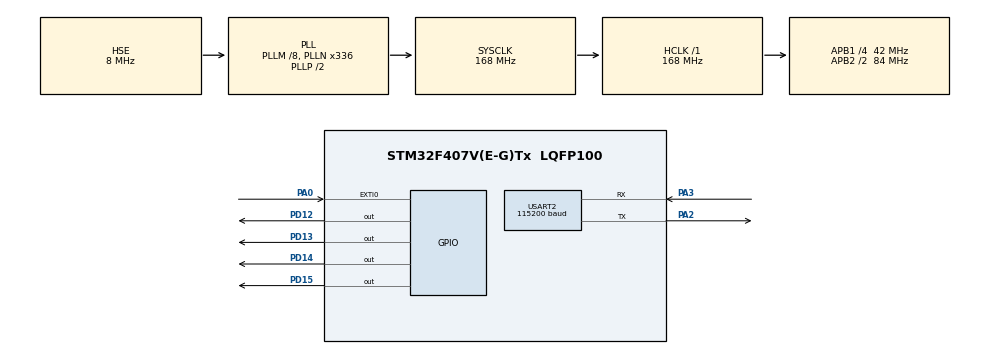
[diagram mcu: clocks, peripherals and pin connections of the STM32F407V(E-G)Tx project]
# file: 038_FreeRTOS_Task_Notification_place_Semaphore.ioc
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FREERTOS.Tasks01=defaultTask,24,128,StartDefaultTask,Default,NULL,Dynamic,NULL,NULL
FREERTOS.configUSE_NEWLIB_REENTRANT=1
Mcu.Family=STM32F4
Mcu.Name=STM32F407V(E-G)Tx
Mcu.Package=LQFP100
NVIC.EXTI0_IRQn=true\:5\:0\:false\:false\:true\:true\:true\:true\:true
NVIC.PriorityGroup=NVIC_PRIORITYGROUP_4
NVIC.TIM8_TRG_COM_TIM14_IRQn=true\:15\:0\:false\:false\:true\:false\:false\:true\:true
NVIC.TimeBase=TIM8_TRG_COM_TIM14_IRQn
NVIC.TimeBaseIP=TIM14
NVIC.USART2_IRQn=true\:5\:0\:false\:false\:true\:true\:true\:true\:true
PA0-WKUP.Signal=GPXTI0
PA2.Mode=Asynchronous
PA2.Signal=USART2_TX
PA3.Mode=Asynchronous
PA3.Signal=USART2_RX
PD12.Signal=GPIO_Output
PD13.Signal=GPIO_Output
PD14.Signal=GPIO_Output
PD15.Signal=GPIO_Output
PH0-OSC_IN.Mode=HSE-External-Oscillator
PH0-OSC_IN.Signal=RCC_OSC_IN
PH1-OSC_OUT.Mode=HSE-External-Oscillator
PH1-OSC_OUT.Signal=RCC_OSC_OUT
ProjectManager.HeapSize=0x200
ProjectManager.StackSize=0x400
ProjectManager.TargetToolchain=STM32CubeIDE
RCC.48MHZClocksFreq_Value=48000000
RCC.AHBFreq_Value=168000000
RCC.APB1CLKDivider=RCC_HCLK_DIV4
RCC.APB1Freq_Value=42000000
RCC.APB1TimFreq_Value=84000000
RCC.APB2CLKDivider=RCC_HCLK_DIV2
RCC.APB2Freq_Value=84000000
RCC.APB2TimFreq_Value=168000000
RCC.CortexFreq_Value=168000000
RCC.HCLKFreq_Value=168000000
RCC.HSE_VALUE=8000000
RCC.HSI_VALUE=16000000
RCC.LSE_VALUE=32768
RCC.PLLM=8
RCC.PLLN=336
RCC.PLLQ=7
RCC.PLLSourceVirtual=RCC_PLLSOURCE_HSE
RCC.SYSCLKFreq_VALUE=168000000
RCC.SYSCLKSource=RCC_SYSCLKSOURCE_PLLCLK
RCC.VCOOutputFreq_Value=336000000
USART2.BaudRate=115200
USART2.VirtualMode=VM_ASYNC
VP_FREERTOS_VS_CMSIS_V2.Mode=CMSIS_V2
VP_SYS_VS_tim14.Mode=TIM14
board=STM32F407G-DISC1

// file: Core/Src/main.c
/* USER CODE BEGIN Header */
/**
  ******************************************************************************
  * @file           : main.c
  * @brief          : Main program body
  ******************************************************************************
  * @attention
  *
  * Copyright (c) 2023 STMicroelectronics.
  * All rights reserved.
  *
  * This software is licensed under terms that can be found in the LICENSE file
  * in the root directory of this software component.
  * If no LICENSE file comes with this software, it is provided AS-IS.
  *
  ******************************************************************************
  */
/* USER CODE END Header */
#include "main.h"
/* USER CODE BEGIN Includes */
#include "FreeRTOS.h"
#include "task.h"
#include <string.h>
/* USER CODE END Includes */

UART_HandleTypeDef huart2;

/* Definitions for defaultTask */
/* USER CODE BEGIN PV */
TaskHandle_t vHandlerTask_Handle = NULL;
/* USER CODE END PV */

void SystemClock_Config(void);
static void MX_GPIO_Init(void);
static void MX_USART2_UART_Init(void);

/* USER CODE BEGIN 0 */
static void vHandlerTask(void *pvParameters)
{
	const TickType_t xMaxExpectedBlockTime = pdMS_TO_TICKS(5000);
	const char *msg = "Handler task - Processing event.\r\n";
	const char *errmsg = "Timeout Reached!\r\n";
	for(;;)
	{
		if(ulTaskNotifyTake(pdFALSE, xMaxExpectedBlockTime) != 0)
		{
			HAL_UART_Transmit(&huart2, (uint8_t *)msg, strlen(msg), HAL_MAX_DELAY);
		}
		else
		{
			HAL_UART_Transmit(&huart2, (uint8_t *)errmsg, strlen(errmsg), HAL_MAX_DELAY);
		}
	}
}
void HAL_GPIO_EXTI_Callback(uint16_t GPIO_Pin)
{
  if(GPIO_Pin == GPIO_PIN_0)
  {
	  BaseType_t xHigherPriorityTaskWoken;
	  xHigherPriorityTaskWoken = pdFALSE;

	  vTaskNotifyGiveFromISR(vHandlerTask_Handle, &xHigherPriorityTaskWoken);
	  vTaskNotifyGiveFromISR(vHandlerTask_Handle, &xHigherPriorityTaskWoken);
	  vTaskNotifyGiveFromISR(vHandlerTask_Handle, &xHigherPriorityTaskWoken);
	  portYIELD_FROM_ISR(xHigherPriorityTaskWoken);
	  HAL_GPIO_TogglePin(GPIOD, GPIO_PIN_14);
  }
}
/* USER CODE END 0 */

int main(void)
{

  /* MCU Configuration--------------------------------------------------------*/

  /* Reset of all peripherals, Initializes the Flash interface and the Systick. */
  HAL_Init();

  /* Configure the system clock */
  SystemClock_Config();

  /* Initialize all configured peripherals */
  MX_GPIO_Init();
  MX_USART2_UART_Init();
  /* USER CODE BEGIN 2 */
  xTaskCreate(vHandlerTask,"Handler Task", 1000, NULL, 1, &vHandlerTask_Handle );
  vTaskStartScheduler();
  /* USER CODE END 2 */

  /* Init scheduler */

  /* Create the thread(s) */
  /* creation of defaultTask */

  /* Start scheduler */
  /* We should never get here as control is now taken by the scheduler */
  /* Infinite loop */
  while (1)
  {

  }
}

void SystemClock_Config(void)
{
  RCC_OscInitTypeDef RCC_OscInitStruct = {0};
  RCC_ClkInitTypeDef RCC_ClkInitStruct = {0};

  /** Configure the main internal regulator output voltage
  */
  __HAL_RCC_PWR_CLK_ENABLE();
  __HAL_PWR_VOLTAGESCALING_CONFIG(PWR_REGULATOR_VOLTAGE_SCALE1);

  /** Initializes the RCC Oscillators according to the specified parameters
  * in the RCC_OscInitTypeDef structure.
  */
  RCC_OscInitStruct.OscillatorType = RCC_OSCILLATORTYPE_HSE;
  RCC_OscInitStruct.HSEState = RCC_HSE_ON;
  RCC_OscInitStruct.PLL.PLLState = RCC_PLL_ON;
  RCC_OscInitStruct.PLL.PLLSource = RCC_PLLSOURCE_HSE;
  RCC_OscInitStruct.PLL.PLLM = 8;
  RCC_OscInitStruct.PLL.PLLN = 336;
  RCC_OscInitStruct.PLL.PLLP = RCC_PLLP_DIV2;
  RCC_OscInitStruct.PLL.PLLQ = 7;
  if (HAL_RCC_OscConfig(&RCC_OscInitStruct) != HAL_OK)
  {
    Error_Handler();
  }

  /** Initializes the CPU, AHB and APB buses clocks
  */
  RCC_ClkInitStruct.ClockType = RCC_CLOCKTYPE_HCLK|RCC_CLOCKTYPE_SYSCLK
                              |RCC_CLOCKTYPE_PCLK1|RCC_CLOCKTYPE_PCLK2;
  RCC_ClkInitStruct.SYSCLKSource = RCC_SYSCLKSOURCE_PLLCLK;
  RCC_ClkInitStruct.AHBCLKDivider = RCC_SYSCLK_DIV1;
  RCC_ClkInitStruct.APB1CLKDivider = RCC_HCLK_DIV4;
  RCC_ClkInitStruct.APB2CLKDivider = RCC_HCLK_DIV2;

  if (HAL_RCC_ClockConfig(&RCC_ClkInitStruct, FLASH_LATENCY_5) != HAL_OK)
  {
    Error_Handler();
  }
}

static void MX_USART2_UART_Init(void)
{

  huart2.Instance = USART2;
  huart2.Init.BaudRate = 115200;
  huart2.Init.WordLength = UART_WORDLENGTH_8B;
  huart2.Init.StopBits = UART_STOPBITS_1;
  huart2.Init.Parity = UART_PARITY_NONE;
  huart2.Init.Mode = UART_MODE_TX_RX;
  huart2.Init.HwFlowCtl = UART_HWCONTROL_NONE;
  huart2.Init.OverSampling = UART_OVERSAMPLING_16;
  if (HAL_UART_Init(&huart2) != HAL_OK)
  {
    Error_Handler();
  }

}

static void MX_GPIO_Init(void)
{
  GPIO_InitTypeDef GPIO_InitStruct = {0};

  /* GPIO Ports Clock Enable */
  __HAL_RCC_GPIOH_CLK_ENABLE();
  __HAL_RCC_GPIOA_CLK_ENABLE();
  __HAL_RCC_GPIOD_CLK_ENABLE();

  /*Configure GPIO pin Output Level */
  HAL_GPIO_WritePin(GPIOD, GPIO_PIN_12|GPIO_PIN_13|GPIO_PIN_14|GPIO_PIN_15, GPIO_PIN_RESET);

  /*Configure GPIO pin : PA0 */
  GPIO_InitStruct.Pin = GPIO_PIN_0;
  GPIO_InitStruct.Mode = GPIO_MODE_IT_RISING;
  GPIO_InitStruct.Pull = GPIO_NOPULL;
  HAL_GPIO_Init(GPIOA, &GPIO_InitStruct);

  /*Configure GPIO pins : PD12 PD13 PD14 PD15 */
  GPIO_InitStruct.Pin = GPIO_PIN_12|GPIO_PIN_13|GPIO_PIN_14|GPIO_PIN_15;
  GPIO_InitStruct.Mode = GPIO_MODE_OUTPUT_PP;
  GPIO_InitStruct.Pull = GPIO_NOPULL;
  GPIO_InitStruct.Speed = GPIO_SPEED_FREQ_LOW;
  HAL_GPIO_Init(GPIOD, &GPIO_InitStruct);

  /* EXTI interrupt init*/
  HAL_NVIC_SetPriority(EXTI0_IRQn, 5, 0);
  HAL_NVIC_EnableIRQ(EXTI0_IRQn);

}

void HAL_TIM_PeriodElapsedCallback(TIM_HandleTypeDef *htim)
{
  if (htim->Instance == TIM14) {
    HAL_IncTick();
  }
}

void Error_Handler(void)
{
  __disable_irq();
  while (1)
  {
  }
}
